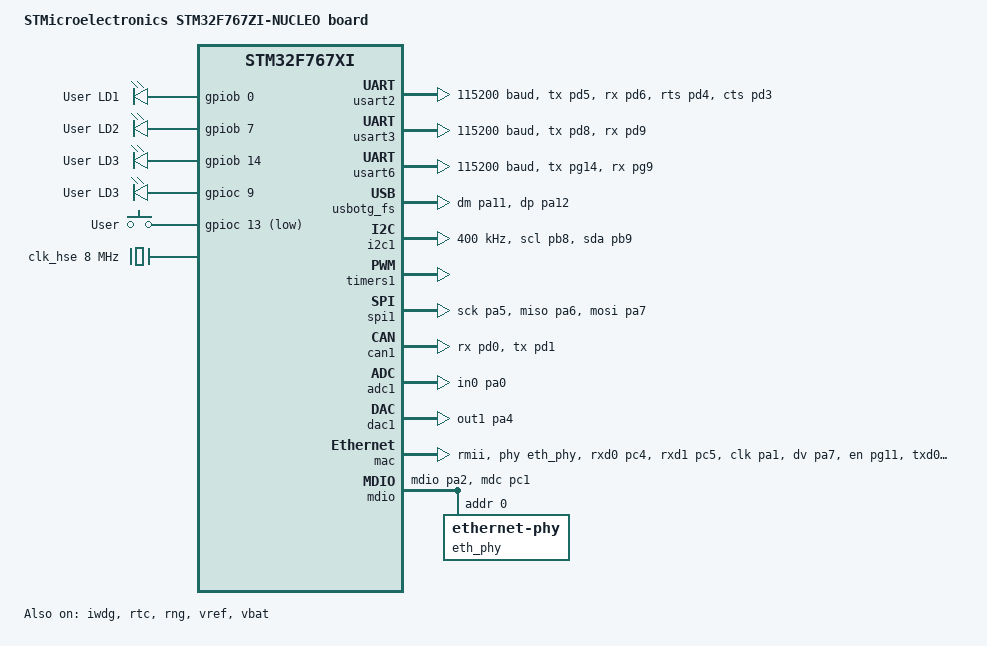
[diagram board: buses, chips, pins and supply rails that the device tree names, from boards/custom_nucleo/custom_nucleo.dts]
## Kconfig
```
menu "LED Subsystem"
    config APP_HEARTBEAT_PERIOD_MS
    int "xternal app heartbeat period"
    default 500
    range 100 2000
    help
        Led blinking period
endmenu

menu "Zephyr's config"
source "Kconfig.zephyr"
endmenu
```

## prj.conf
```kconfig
CONFIG_GPIO=y
CONFIG_LOG=y

CONFIG_APP_HEARTBEAT_PERIOD_MS=500
```

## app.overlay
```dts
/{
    aliases {
        app-led = &extLed;
    };

    ledos: led {
        compatible = "gpio-leds";
        extLed:external_led {
            gpios = <&gpioc 8 GPIO_ACTIVE_HIGH>;
        };
    };
};
```

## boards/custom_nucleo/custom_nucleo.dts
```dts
/*
 * Copyright (c) 2019 Roland Ma
 *
 * SPDX-License-Identifier: Apache-2.0
 */

/dts-v1/;
#include <st/f7/stm32f767Xi.dtsi>
#include <st/f7/stm32f767zitx-pinctrl.dtsi>
#include "arduino_r3_connector.dtsi"
#include <zephyr/dt-bindings/input/input-event-codes.h>

/*
 * WARNING: The pin PA7 will conflict on selection of SPI_1 and ETH_STM32_HAL.
 *          If you require both peripherals, and you do not need Arduino Uno v3
 *          compatibility, the pin PB5 (also on ST Zio connector) can be used
 *          for the SPI_1 MOSI signal.
 */

/ {
	model = "STMicroelectronics STM32F767ZI-NUCLEO board";
	compatible = "adelvalle,custom_nucleo";

	chosen {
		zephyr,console = &usart3;
		zephyr,shell-uart = &usart3;
		zephyr,sram = &sram0;
		zephyr,flash = &flash0;
		zephyr,code-partition = &slot0_partition;
		zephyr,dtcm = &dtcm;
		zephyr,canbus = &can1;
	};

	leds: leds {
		compatible = "gpio-leds";

		green_led: led_0 {
			gpios = <&gpiob 0 GPIO_ACTIVE_HIGH>;
			label = "User LD1";
		};

		blue_led: led_1 {
			gpios = <&gpiob 7 GPIO_ACTIVE_HIGH>;
			label = "User LD2";
		};

		red_led: led_2 {
			gpios = <&gpiob 14 GPIO_ACTIVE_HIGH>;
			label = "User LD3";
		};

		ext_led: led3 {
			gpios = <&gpioc 9 GPIO_ACTIVE_HIGH>;
			label = "User LD3";
		};
	};

	gpio_keys {
		compatible = "gpio-keys";

		user_button: button_0 {
			label = "User";
			gpios = <&gpioc 13 GPIO_ACTIVE_LOW>;
			zephyr,code = <INPUT_KEY_0>;
		};
	};

	aliases {
		led0 = &green_led;
		led1 = &blue_led;
		led2 = &red_led;
		led3 = &ext_led;
		sw0 = &user_button;
		watchdog0 = &iwdg;
		volt-sensor0 = &vref;
		volt-sensor1 = &vbat;
	};
};

&clk_lsi {
	status = "okay";
};

&clk_hse {
	hse-bypass;
	clock-frequency = <DT_FREQ_M(8)>; /* STLink 8MHz clock */
	status = "okay";
};

&pll {
	div-m = <4>;
	mul-n = <216>;
	div-p = <2>;
	div-q = <9>;
	clocks = <&clk_hse>;
	status = "okay";
};

&rcc {
	clocks = <&pll>;
	clock-frequency = <DT_FREQ_M(216)>;
	ahb-prescaler = <1>;
	apb1-prescaler = <4>;
	apb2-prescaler = <2>;
};

&usart2 {
	pinctrl-0 = <&usart2_tx_pd5
		     &usart2_rx_pd6
		     &usart2_rts_pd4
		     &usart2_cts_pd3>;
	pinctrl-names = "default";
	current-speed = <115200>;
};

&usart3 {
	pinctrl-0 = <&usart3_tx_pd8 &usart3_rx_pd9>;
	pinctrl-names = "default";
	current-speed = <115200>;
	status = "okay";
};

&usart6 {
	pinctrl-0 = <&usart6_tx_pg14 &usart6_rx_pg9>;
	pinctrl-names = "default";
	current-speed = <115200>;
	status = "okay";
};

zephyr_udc0: &usbotg_fs {
	pinctrl-0 = <&usb_otg_fs_dm_pa11 &usb_otg_fs_dp_pa12>;
	pinctrl-names = "default";
	status = "okay";
};

&i2c1 {
	pinctrl-0 = <&i2c1_scl_pb8 &i2c1_sda_pb9>;
	pinctrl-names = "default";
	status = "okay";
	clock-frequency = <I2C_BITRATE_FAST>;
};

&timers1 {
	st,prescaler = <10000>;
	status = "okay";

	pwm1: pwm {
		status = "okay";
		pinctrl-0 = <&tim1_ch3_pe13>;
		pinctrl-names = "default";
	};
};

&spi1 {
	pinctrl-0 = <&spi1_sck_pa5 &spi1_miso_pa6 &spi1_mosi_pa7>;
	pinctrl-names = "default";
	cs-gpios = <&gpiod 14 (GPIO_ACTIVE_LOW | GPIO_PULL_UP)>;
	/*
	 * WARNING: The pin PA7 will conflict on selection of SPI_1 and
	 *          ETH_STM32_HAL.
	 */
	status = "okay";
};

&iwdg {
	status = "okay";
};

&rtc {
	clocks = <&rcc STM32_CLOCK(APB1, 28)>,
		 <&rcc STM32_SRC_LSI RTC_SEL(2)>;
	status = "okay";
};

&can1 {
	pinctrl-0 = <&can1_rx_pd0 &can1_tx_pd1>;
	pinctrl-names = "default";
	status = "okay";
};

&adc1 {
	pinctrl-0 = <&adc1_in0_pa0>;
	pinctrl-names = "default";
	st,adc-clock-source = "SYNC";
	st,adc-prescaler = <2>;
	status = "okay";
};

&dac1 {
	status = "okay";
	pinctrl-0 = <&dac_out1_pa4>;
	pinctrl-names = "default";
};

&rng {
	status = "okay";
};

&mac {
	status = "okay";
	pinctrl-0 = <&eth_rxd0_pc4
		     &eth_rxd1_pc5
		     &eth_ref_clk_pa1
		     &eth_crs_dv_pa7
		     &eth_tx_en_pg11
		     &eth_txd0_pg13
		     &eth_txd1_pb13>;
	pinctrl-names = "default";
	phy-connection-type = "rmii";
	phy-handle = <&eth_phy>;
};

&mdio {
	status = "okay";
	pinctrl-0 = <&eth_mdio_pa2 &eth_mdc_pc1>;
	pinctrl-names = "default";

	eth_phy: ethernet-phy@0 {
		compatible = "ethernet-phy";
		reg = <0x00>;
	};
};

&flash0 {
	partitions {
		compatible = "fixed-partitions";
		#address-cells = <1>;
		#size-cells = <1>;

		/*
		 * The two sectors 0-1 (32+32 kbytes) are reserved for
		 * the bootloader.
		 */
		boot_partition: partition@0 {
			label = "mcuboot";
			reg = <0x0 DT_SIZE_K(64)>;
			read-only;
		};

		/*
		 * The flash starting at offset 0x10000 and ending at
		 * offset 0x1ffff is reserved for use by the application.
		 * This represents sectors 2-3 (32+32 kbytes)
		 */
		storage_partition: partition@10000 {
			label = "storage";
			reg = <0x00010000 DT_SIZE_K(64)>;
		};

		/*
		 * Sector 4 (128 kbytes) unallocated.
		 */

		/*
		 * Allocated 3 (256k x 3) sectors for image-0. Sectors 5-7.
		 */
		slot0_partition: partition@40000 {
			label = "image-0";
			reg = <0x00040000 DT_SIZE_K(768)>;
		};

		/*
		 * Allocated 3 (256k x 3) sectors for image-1. Sectors 8-10.
		 */
		slot1_partition: partition@100000 {
			label = "image-1";
			reg = <0x00100000 DT_SIZE_K(768)>;
		};

		/*
		 * Allocated 1 (256k) sector for image-scratch. Sector 11.
		 */
		scratch_partition: partition@1c0000 {
			label = "image-scratch";
			reg = <0x001c0000 DT_SIZE_K(256)>;
		};
	};
};

&vref {
	status = "okay";
};

&vbat {
	status = "okay";
};
```

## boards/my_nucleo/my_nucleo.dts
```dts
/*
 * Copyright (c) 2026 Angel del Valle
 *
 * SPDX-License-Identifier: Apache-2.0
 */

/dts-v1/;
#include <st/f7/stm32f767Xi.dtsi>
#include <st/f7/stm32f767zitx-pinctrl.dtsi>
#include <zephyr/dt-bindings/input/input-event-codes.h>

/ {
	model = "STMicroelectronics STM32F767ZI-NUCLEO board";
	compatible = "adelvalle,my_nucleo";
    
    chosen {
        zephyr,console = &usart3;
		zephyr,shell-uart = &usart3;
        zephyr,sram = &sram0;
		zephyr,flash = &flash0;
		zephyr,code-partition = &slot0_partition;
        zephyr,dtcm = &dtcm;
    };

    leds: leds {
        compatible = "gpio-leds";

        ext_led: led0 {
            gpios = <&gpioc 9 GPIO_ACTIVE_HIGH>;
            label = "User LD1";
        };
    };

    gpio_keys {
		compatible = "gpio-keys";

		user_button: button_0 {
			label = "User";
			gpios = <&gpioc 13 GPIO_ACTIVE_LOW>;
			zephyr,code = <INPUT_KEY_0>;
		};
	};

    aliases {
        led0 = &ext_led;
        sw0 = &user_button;
    };
};

&clk_lsi {
	status = "okay";
};

&clk_hse {
    hse-bypass;
    clock-frequency = <DT_FREQ_M(8)>; /* STLink 8MHz clock */
    status = "okay";
};

&pll {
    div-m = <4>;
    mul-n = <216>;
    div-p = <2>;
    div-q = <9>;
    clocks = <&clk_hse>;
    status = "okay";
};

&rcc {
	clocks = <&pll>;
	clock-frequency = <DT_FREQ_M(216)>;
	ahb-prescaler = <1>;
	apb1-prescaler = <4>;
	apb2-prescaler = <2>;
};

&usart3 {
	pinctrl-0 = <&usart3_tx_pd8 &usart3_rx_pd9>;
	pinctrl-names = "default";
	current-speed = <115200>;
	status = "okay";
};

&timers1 {
	st,prescaler = <10000>;
	status = "okay";

	pwm1: pwm {
		status = "okay";
		pinctrl-0 = <&tim1_ch3_pe13>;
		pinctrl-names = "default";
	};
};

&rtc {
	clocks = <&rcc STM32_CLOCK(APB1, 28)>,
		 <&rcc STM32_SRC_LSI RTC_SEL(2)>;
	status = "okay";
};

&flash0 {
	partitions {
		compatible = "fixed-partitions";
		#address-cells = <1>;
		#size-cells = <1>;

		/*
		 * The two sectors 0-1 (32+32 kbytes) are reserved for
		 * the bootloader.
		 */
		boot_partition: partition@0 {
			label = "mcuboot";
			reg = <0x0 DT_SIZE_K(64)>;
			read-only;
		};

		/*
		 * The flash starting at offset 0x10000 and ending at
		 * offset 0x1ffff is reserved for use by the application.
		 * This represents sectors 2-3 (32+32 kbytes)
		 */
		storage_partition: partition@10000 {
			label = "storage";
			reg = <0x00010000 DT_SIZE_K(64)>;
		};

		/*
		 * Sector 4 (128 kbytes) unallocated.
		 */

		/*
		 * Allocated 3 (256k x 3) sectors for image-0. Sectors 5-7.
		 */
		slot0_partition: partition@40000 {
			label = "image-0";
			reg = <0x00040000 DT_SIZE_K(768)>;
		};

		/*
		 * Allocated 3 (256k x 3) sectors for image-1. Sectors 8-10.
		 */
		slot1_partition: partition@100000 {
			label = "image-1";
			reg = <0x00100000 DT_SIZE_K(768)>;
		};

		/*
		 * Allocated 1 (256k) sector for image-scratch. Sector 11.
		 */
		scratch_partition: partition@1c0000 {
			label = "image-scratch";
			reg = <0x001c0000 DT_SIZE_K(256)>;
		};
	};
};

&vref {
	status = "okay";
};

&vbat {
	status = "okay";
};
```

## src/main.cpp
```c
#include <zephyr/drivers/gpio.h>
#include <zephyr/kernel.h>
#include <zephyr/logging/log.h>

#define SLEEP_TIME_MS 300

/* The devicetree node identifier for the "led0" alias. */
#define LED_NODE DT_ALIAS(led3)

static const struct gpio_dt_spec led = GPIO_DT_SPEC_GET(LED_NODE, gpios);

LOG_MODULE_REGISTER(main, LOG_LEVEL_INF);

int main(void)
{
    bool led_state = true;

    if (!gpio_is_ready_dt(&led)) return 0;

    if (gpio_pin_configure_dt(&led, GPIO_OUTPUT_ACTIVE) < 0) return 0;

    while (1) {
        if (gpio_pin_toggle_dt(&led) < 0) return 0;

        led_state = !led_state;
        LOG_INF("LED state: %s", led_state ? "ON" : "OFF");
        k_msleep(SLEEP_TIME_MS);
    }
    return 0;
}
```
